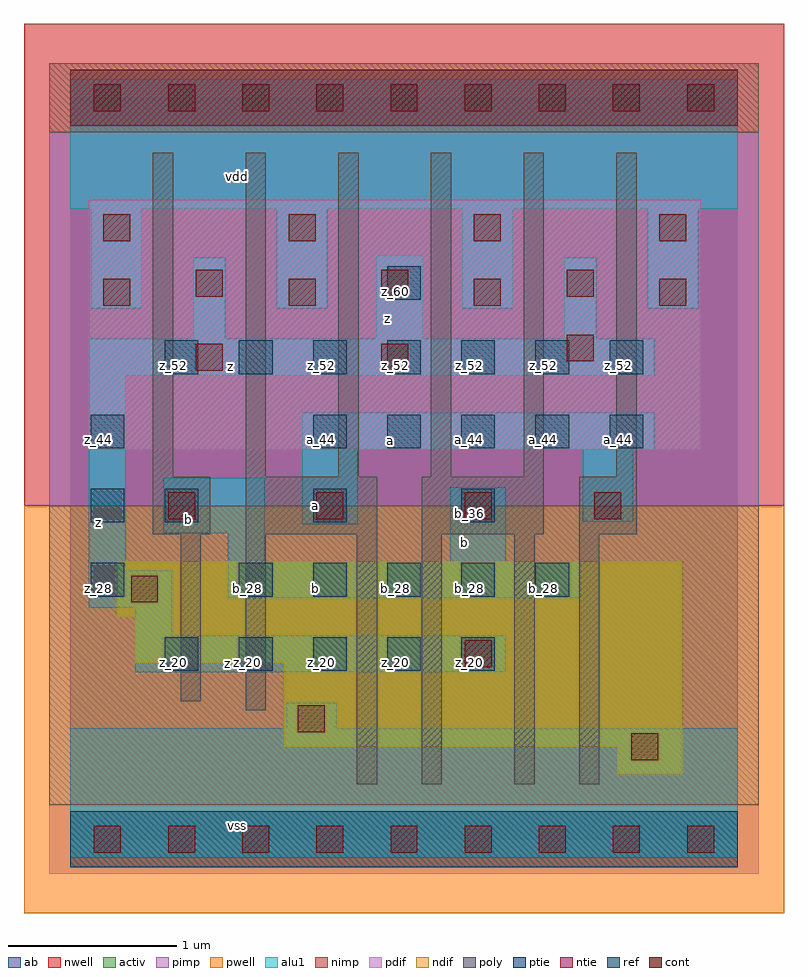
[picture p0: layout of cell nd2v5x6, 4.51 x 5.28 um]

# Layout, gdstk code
import gdstk
lib = gdstk.Library(unit=1e-6, precision=2.5e-09)
def R(c, l, rs):  # rectangles x0, y0, x1, y1
    for r in rs: c.add(gdstk.rectangle(r[:2], r[2:], *l))
def A(c, l, x, y, w, h, nx, ny, dx, dy):  # array of equal rectangles
    R(c, l, [(x+i*dx, y+j*dy, x+i*dx+w, y+j*dy+h) for i in range(nx) for j in range(ny)])
ndif = (3, 0)
pdif = (4, 0)
ntie = (5, 0)
ptie = (6, 0)
ref = (24, 0)
cont = (25, 0)
pwell = (41, 0)
nwell = (42, 0)
activ = (43, 0)
pimp = (44, 0)
nimp = (45, 0)
poly = (46, 0)
alu1 = (49, 0)
ab = (63, 0)

nd2v5x6 = lib.new_cell('nd2v5x6')
R(nd2v5x6, ndif, [(3.245,0.385,3.63,0.55), (1.265,0.55,3.63,1.045), (0.385,1.045,3.63,1.32), (0.275,1.32,3.63,1.65)])
R(nd2v5x6, pdif, [(0.11,2.31,3.74,3.795)])
R(nd2v5x6, ntie, [(0,4.235,3.96,4.565)])
R(nd2v5x6, ptie, [(0,-0.165,3.96,0.165)])
A(nd2v5x6, ref, 0.56, 1, 0.2, 0.2, 5, 1, 0.44, 0)
A(nd2v5x6, ref, 0.12, 1.44, 0.2, 0.2, 1, 3, 0, 0.44)
A(nd2v5x6, ref, 1, 1.44, 0.2, 0.2, 5, 1, 0.44, 0)
A(nd2v5x6, ref, 0.56, 1.88, 0.2, 0.2, 3, 1, 0.88, 0)
A(nd2v5x6, ref, 1.44, 2.32, 0.2, 0.2, 5, 1, 0.44, 0)
A(nd2v5x6, ref, 0.56, 2.76, 0.2, 0.2, 7, 1, 0.44, 0)
R(nd2v5x6, ref, [(1.88,3.2,2.08,3.4)])
A(nd2v5x6, cont, 0.14, -0.08, 0.16, 0.16, 9, 2, 0.44, 4.4)
A(nd2v5x6, cont, 0.58, 1.9, 0.16, 0.16, 3, 1, 0.88, 0)
A(nd2v5x6, cont, 0.195, 3.165, 0.16, 0.16, 4, 2, 1.1, 0.385)
A(nd2v5x6, cont, 0.745, 3.22, 0.16, 0.16, 3, 1, 1.1, 0)
R(nd2v5x6, cont, [(3.33,0.47,3.49,0.63), (1.35,0.635,1.51,0.795), (2.34,1.02,2.5,1.18), (0.36,1.405,0.52,1.565), (3.11,1.9,3.27,2.06), (0.745,2.78,0.905,2.94), (1.845,2.78,2.005,2.94), (2.945,2.835,3.105,2.995)])
R(nd2v5x6, pwell, [(-0.275,-0.44,4.235,1.98)])
R(nd2v5x6, nwell, [(-0.275,1.98,4.235,4.84)])
R(nd2v5x6, activ, [(0,-0.165,3.96,0.165), (3.245,0.385,3.63,0.55), (1.265,0.55,3.63,1.045), (0.385,1.045,3.63,1.32), (0.275,1.32,3.63,1.65), (0.11,2.31,3.74,3.795), (0,4.235,3.96,4.565)])
R(nd2v5x6, pimp, [(-0.125,-0.205,4.085,0.205), (-0.125,1.98,4.085,4.195)])
R(nd2v5x6, nimp, [(-0.125,0.205,4.085,1.98), (-0.125,4.195,4.085,4.605)])
A(nd2v5x6, poly, 0.49, 2.15, 0.12, 1.925, 6, 1, 0.55, 0)
R(nd2v5x6, poly, [(1.7,0.325,1.82,1.81), (2.085,0.325,2.205,1.81), (2.635,0.325,2.755,1.81), (3.02,0.325,3.14,1.81), (1.04,0.765,1.16,1.81), (0.655,0.82,0.775,1.81), (0.49,1.81,0.83,2.15), (1.04,1.81,1.82,2.15), (2.085,1.81,2.81,2.15), (3.02,1.81,3.36,2.15)])
A(nd2v5x6, alu1, 0.125, 3.15, 0.3, 0.59, 4, 1, 1.1, 0)
R(nd2v5x6, alu1, [(0,-0.11,3.96,0.66), (1.28,0.66,1.58,0.81), (0.385,0.99,2.585,1.21), (0.385,1.21,0.605,1.375), (0.11,1.375,0.605,1.595), (0.935,1.43,3.025,1.65), (0.11,1.595,0.33,2.75), (0.935,1.65,1.155,1.815), (2.255,1.65,2.585,2.09), (0.55,1.815,1.155,2.145), (1.375,1.87,1.705,2.31), (3.04,1.885,3.34,2.31), (1.375,2.31,3.465,2.53), (0.11,2.75,3.465,2.97), (0.73,2.97,0.92,3.45), (1.815,2.97,2.09,3.465), (2.93,2.97,3.12,3.45), (0,3.74,3.96,4.51)])
R(nd2v5x6, ab, [(0,0,3.96,4.4)])
nd2v5x6.add(gdstk.Label('vss', (0.99,0.0825), layer=49, texttype=0))
nd2v5x6.add(gdstk.Label('z', (0.935,1.045), layer=49, texttype=0))
nd2v5x6.add(gdstk.Label('b', (1.4575,1.485), layer=49, texttype=0))
nd2v5x6.add(gdstk.Label('b', (2.3375,1.76), layer=49, texttype=0))
nd2v5x6.add(gdstk.Label('a', (1.4575,1.98), layer=49, texttype=0))
nd2v5x6.add(gdstk.Label('b', (0.7,1.8975), layer=49, texttype=0))
nd2v5x6.add(gdstk.Label('a', (1.8975,2.365), layer=49, texttype=0))
nd2v5x6.add(gdstk.Label('z', (0.165,1.8825), layer=49, texttype=0))
nd2v5x6.add(gdstk.Label('z', (0.9475,2.805), layer=49, texttype=0))
nd2v5x6.add(gdstk.Label('z', (1.8825,3.0925), layer=49, texttype=0))
nd2v5x6.add(gdstk.Label('vdd', (0.99,3.9325), layer=49, texttype=0))
nd2v5x6.add(gdstk.Label('z_20', (0.61,1.05), layer=24, texttype=0))
nd2v5x6.add(gdstk.Label('b_36', (0.61,1.93), layer=24, texttype=0))
nd2v5x6.add(gdstk.Label('z_52', (0.61,2.81), layer=24, texttype=0))
nd2v5x6.add(gdstk.Label('z_20', (1.05,1.05), layer=24, texttype=0))
nd2v5x6.add(gdstk.Label('b_28', (1.05,1.49), layer=24, texttype=0))
nd2v5x6.add(gdstk.Label('z_52', (1.05,2.81), layer=24, texttype=0))
nd2v5x6.add(gdstk.Label('z_20', (1.49,1.05), layer=24, texttype=0))
nd2v5x6.add(gdstk.Label('b_28', (1.49,1.49), layer=24, texttype=0))
nd2v5x6.add(gdstk.Label('a_36', (1.49,1.93), layer=24, texttype=0))
nd2v5x6.add(gdstk.Label('a_44', (1.49,2.37), layer=24, texttype=0))
nd2v5x6.add(gdstk.Label('z_52', (1.49,2.81), layer=24, texttype=0))
nd2v5x6.add(gdstk.Label('z_20', (1.93,1.05), layer=24, texttype=0))
nd2v5x6.add(gdstk.Label('b_28', (1.93,1.49), layer=24, texttype=0))
nd2v5x6.add(gdstk.Label('a_44', (1.93,2.37), layer=24, texttype=0))
nd2v5x6.add(gdstk.Label('z_52', (1.93,2.81), layer=24, texttype=0))
nd2v5x6.add(gdstk.Label('z_60', (1.93,3.25), layer=24, texttype=0))
nd2v5x6.add(gdstk.Label('z_28', (0.17,1.49), layer=24, texttype=0))
nd2v5x6.add(gdstk.Label('z_36', (0.17,1.93), layer=24, texttype=0))
nd2v5x6.add(gdstk.Label('z_44', (0.17,2.37), layer=24, texttype=0))
nd2v5x6.add(gdstk.Label('z_20', (2.37,1.05), layer=24, texttype=0))
nd2v5x6.add(gdstk.Label('b_28', (2.37,1.49), layer=24, texttype=0))
nd2v5x6.add(gdstk.Label('b_36', (2.37,1.93), layer=24, texttype=0))
nd2v5x6.add(gdstk.Label('a_44', (2.37,2.37), layer=24, texttype=0))
nd2v5x6.add(gdstk.Label('z_52', (2.37,2.81), layer=24, texttype=0))
nd2v5x6.add(gdstk.Label('b_28', (2.81,1.49), layer=24, texttype=0))
nd2v5x6.add(gdstk.Label('a_44', (2.81,2.37), layer=24, texttype=0))
nd2v5x6.add(gdstk.Label('z_52', (2.81,2.81), layer=24, texttype=0))
nd2v5x6.add(gdstk.Label('a_44', (3.25,2.37), layer=24, texttype=0))
nd2v5x6.add(gdstk.Label('z_52', (3.25,2.81), layer=24, texttype=0))

lib.write_gds('nd2v5x6.gds')
